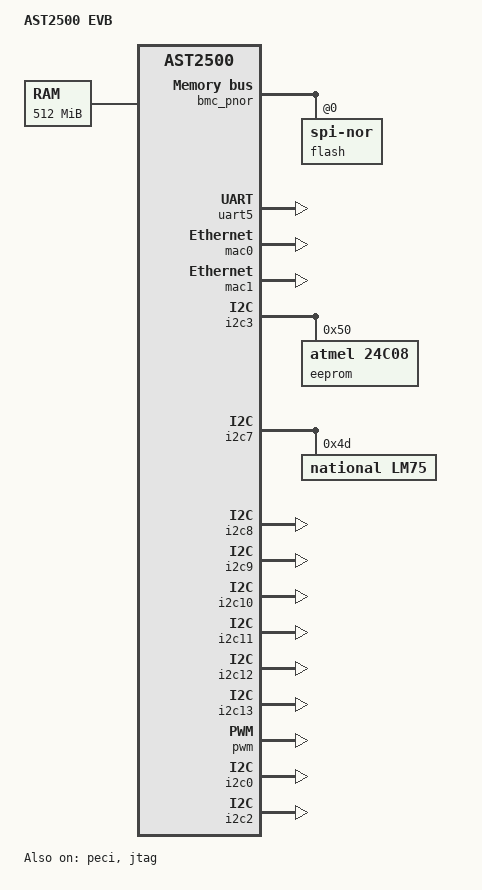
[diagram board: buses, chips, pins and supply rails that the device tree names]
/dts-v1/;

#include <dt-bindings/thermal/thermal.h>
#include <dt-bindings/pwm/pwm.h>
#include "aspeed-g5-mlx.dtsi"

/ {
	model = "AST2500 EVB";
	compatible = "mellanox,mlx-bmc", "aspeed,ast2500-evb", "aspeed,ast2500";

	aliases {
		serial4 = &uart5;
	};

        aliases {
                serial0 = &uart5;
        };

	chosen {
		stdout-path = &uart5;
		bootargs = "console=ttyS4,115200n8 earlyprintk";
	};

	memory {
		reg = <0x80000000 0x20000000>;
	};

	ahb {
		bmc_pnor: fmc@1e620000 {
			reg = < 0x1e620000 0x94
				0x20000000 0x02000000 >;
			#address-cells = <1>;
			#size-cells = <0>;
			compatible = "aspeed,ast2500-fmc";
			flash@0 {
				reg = < 0 >;
				compatible = "jedec,spi-nor" ;
#include "aspeed-bmc-mlx-flash-layout.dtsi"
			};
		};
	};
};

&uart5 {
	status = "okay";
};

&mac0 {
	status = "okay";

	pinctrl-names = "default";
	pinctrl-0 = <&pinctrl_rgmii1_default>;
};

&mac1 {
	status = "okay";

	pinctrl-names = "default";
	pinctrl-0 = <&pinctrl_rgmii2_default>;
};

&i2c3 {
	status = "okay";
        eeprom@50 {
                compatible = "atmel,24c08";
                reg = <0x50>;
                pagesize = <16>;
        };
};

&i2c7 {
	status = "okay";
	lm75@4d {
		compatible = "national,lm75";
		reg = <0x4d>;
	};
};

&i2c8 {
        status = "okay";
};

&i2c9 {
	status = "okay";
};

&i2c10 {
	status = "okay";
};

&i2c11 {
	status = "okay";
};

&i2c12 {
	status = "okay";
};

&i2c13 {
	status = "okay";
};

&pwm {
	status = "okay";
};

&peci {
	status = "okay";
};

&jtag {
	status = "okay";
};

&i2c0 {
	status = "okay";
};

&i2c2 {
	status = "okay";
};

